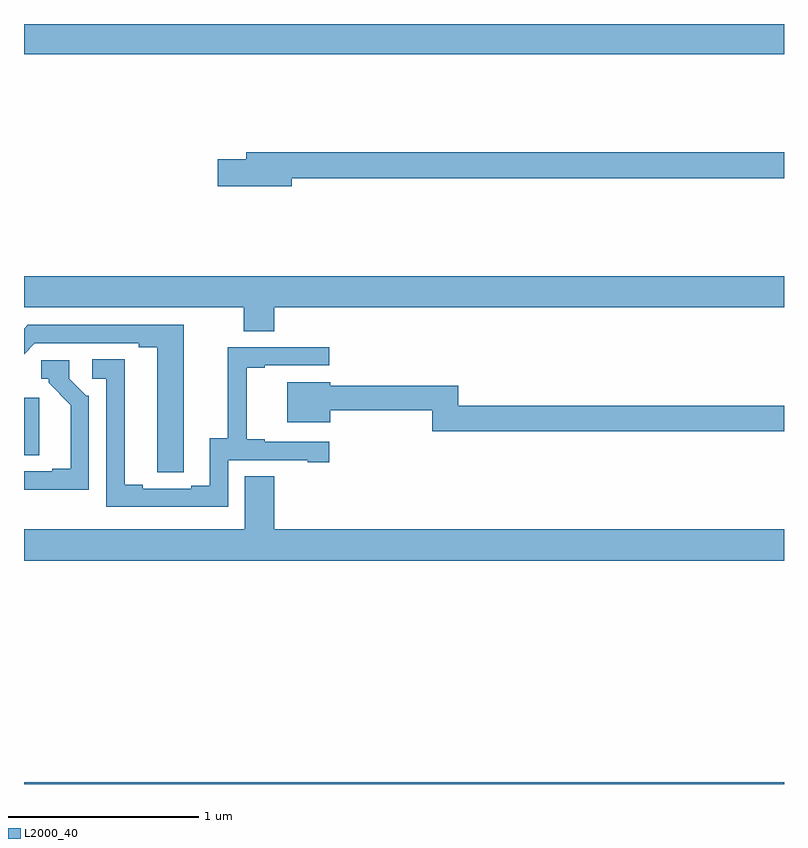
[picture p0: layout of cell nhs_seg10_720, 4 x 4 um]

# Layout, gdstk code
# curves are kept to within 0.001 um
import gdstk
lib = gdstk.Library(unit=1e-6, precision=1e-09)
def R(c, l, rs):  # rectangles x0, y0, x1, y1
    for r in rs: c.add(gdstk.rectangle(r[:2], r[2:], *l))
def P(c, l, *ps):  # polygons
    for p in ps: c.add(gdstk.Polygon(p, *l))
L2000_40 = (2000, 40)

nhs_seg10_720 = lib.new_cell('nhs_seg10_720')
R(nhs_seg10_720, L2000_40, [(147,1272.5,151,1272.508), (147,1274.23,147.079,1274.533), (147,1276.34,151,1276.5)])
P(nhs_seg10_720, L2000_40, [(148.408,1275.688),(151,1275.688),(151,1275.824),(148.169,1275.824),(148.169,1275.788),(148.02,1275.788),(148.02,1275.646),(148.408,1275.646)],
  [(148.316,1275.008),(151,1275.008),(151,1275.172),(147,1275.172),(147,1275.008),(148.156,1275.008),(148.156,1274.884),(148.316,1274.884)],
  [(147.84,1274.248),(147.841,1274.248),(147.841,1274.916),(147.021,1274.916),(147,1274.895),(147,1274.763),(147.057,1274.82),(147.605,1274.82),(147.605,1274.8),(147.701,1274.8),(147.701,1274.14),(147.84,1274.14)],
  [(148.074,1274.205),(148.493,1274.205),(148.493,1274.193),(148.606,1274.193),(148.606,1274.301),(148.267,1274.301),(148.267,1274.314),(148.172,1274.314),(148.172,1274.691),(148.267,1274.691),(148.267,1274.703),(148.606,1274.703),(148.606,1274.799),(148.072,1274.799),(148.072,1274.321),(147.977,1274.321),(147.977,1274.07),(147.881,1274.07),(147.881,1274.055),(147.625,1274.055),(147.625,1274.075),(147.529,1274.075),(147.529,1274.735),(147.36,1274.735),(147.36,1274.634),(147.432,1274.634),(147.432,1273.959),(148.074,1273.959)],
  [(147.342,1274.544),(147.327,1274.544),(147.237,1274.634),(147.237,1274.73),(147.09,1274.73),(147.09,1274.634),(147.129,1274.634),(147.129,1274.611),(147.245,1274.494),(147.245,1274.158),(147.149,1274.158),(147.149,1274.145),(147,1274.145),(147,1274.049),(147.342,1274.048)],
  [(151,1274.492),(149.285,1274.492),(149.285,1274.596),(148.612,1274.596),(148.612,1274.614),(148.385,1274.614),(148.385,1274.405),(148.612,1274.405),(148.612,1274.467),(149.149,1274.467),(149.149,1274.356),(151,1274.356)],
  [(151,1273.84),(148.316,1273.84),(148.316,1274.12),(148.163,1274.12),(148.163,1273.84),(147,1273.84),(147,1273.676),(151,1273.676)])

lib.write_gds('nhs_seg10_720.gds')
